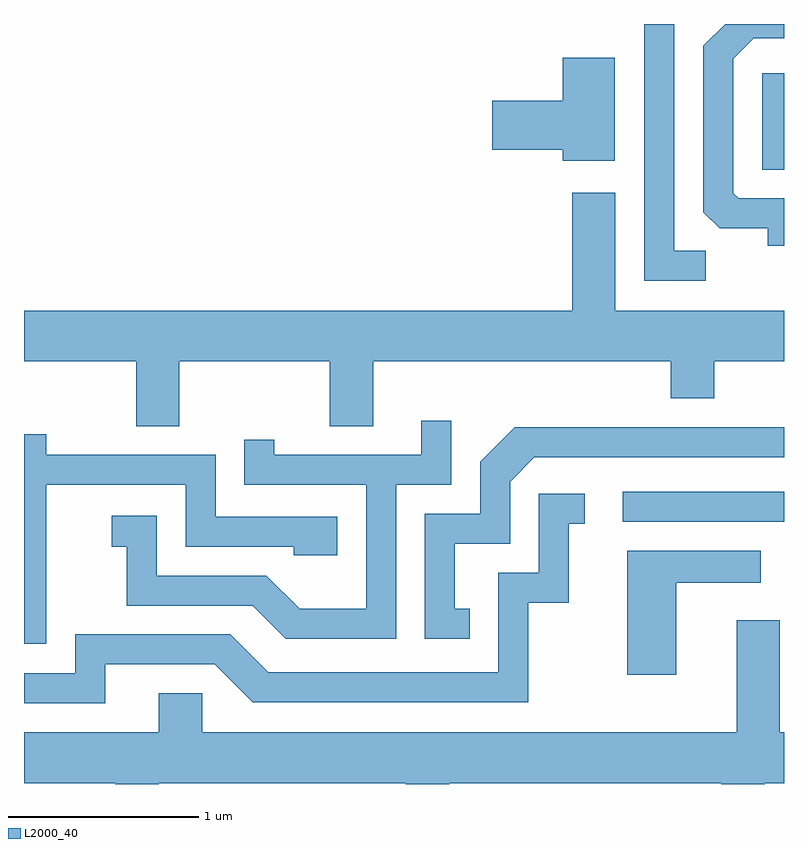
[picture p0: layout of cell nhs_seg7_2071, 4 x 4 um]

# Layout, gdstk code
import gdstk
lib = gdstk.Library(unit=1e-6, precision=1e-09)
def R(c, l, rs):  # rectangles x0, y0, x1, y1
    for r in rs: c.add(gdstk.rectangle(r[:2], r[2:], *l))
def P(c, l, *ps):  # polygons
    for p in ps: c.add(gdstk.Polygon(p, *l))
L2000_40 = (2000, 40)

nhs_seg7_2071 = lib.new_cell('nhs_seg7_2071')
R(nhs_seg7_2071, L2000_40, [(250.763,1775.631,251.611,1775.789), (251.496,1777.486,251.611,1777.993)])
P(nhs_seg7_2071, L2000_40, [(251.611,1777.334),(251.372,1777.334),(251.344,1777.362),(251.344,1778.069),(251.452,1778.176),(251.611,1778.176),(251.611,1778.252),(251.301,1778.252),(251.186,1778.137),(251.186,1777.262),(251.272,1777.176),(251.526,1777.176),(251.526,1777.086),(251.611,1777.086)],
  [(251.198,1777.059),(251.034,1777.059),(251.034,1778.252),(250.876,1778.252),(250.876,1776.901),(251.198,1776.901)],
  [(250.719,1778.074),(250.446,1778.074),(250.446,1777.849),(250.076,1777.849),(250.076,1777.591),(250.446,1777.591),(250.446,1777.531),(250.719,1777.531)],
  [(248.429,1776.476),(249.221,1776.476),(249.221,1776.136),(249.449,1776.136),(249.449,1776.476),(251.016,1776.476),(251.016,1776.281),(251.244,1776.281),(251.244,1776.476),(251.611,1776.476),(251.611,1776.744),(250.724,1776.744),(250.724,1777.364),(250.496,1777.364),(250.496,1776.744),(247.611,1776.744),(247.611,1776.476),(248.201,1776.476),(248.201,1776.136),(248.429,1776.136)],
  [(249.569,1775.826),(249.859,1775.826),(249.859,1776.163),(249.701,1776.163),(249.701,1775.984),(248.929,1775.984),(248.929,1776.063),(248.771,1776.063),(248.771,1775.826),(249.411,1775.826),(249.411,1775.174),(249.062,1775.174),(248.887,1775.349),(248.309,1775.349),(248.309,1775.664),(248.073,1775.664),(248.073,1775.501),(248.151,1775.501),(248.151,1775.191),(248.814,1775.191),(248.989,1775.016),(249.569,1775.016)],
  [(249.958,1775.174),(249.879,1775.174),(249.879,1775.516),(250.169,1775.516),(250.169,1775.844),(250.297,1775.971),(251.611,1775.971),(251.611,1776.129),(250.194,1776.129),(250.011,1775.947),(250.011,1775.674),(249.721,1775.674),(249.721,1775.016),(249.958,1775.016)],
  [(247.729,1775.826),(248.461,1775.826),(248.461,1775.501),(249.031,1775.501),(249.031,1775.456),(249.259,1775.456),(249.259,1775.659),(248.619,1775.659),(248.619,1775.984),(247.729,1775.984),(247.729,1776.094),(247.611,1776.094),(247.611,1774.991),(247.729,1774.991)],
  [(248.039,1774.881),(248.614,1774.881),(248.814,1774.681),(250.264,1774.681),(250.264,1775.206),(250.479,1775.206),(250.479,1775.621),(250.563,1775.621),(250.563,1775.779),(250.321,1775.779),(250.321,1775.364),(250.106,1775.364),(250.106,1774.839),(248.897,1774.839),(248.697,1775.039),(247.881,1775.039),(247.881,1774.834),(247.611,1774.834),(247.611,1774.676),(248.039,1774.676)],
  [(251.044,1775.311),(251.488,1775.311),(251.488,1775.479),(250.786,1775.479),(250.786,1774.826),(251.044,1774.826)],
  [(248.319,1774.256),(249.621,1774.256),(249.621,1774.252),(249.849,1774.252),(249.849,1774.256),(251.281,1774.256),(251.281,1774.252),(251.509,1774.252),(251.509,1774.256),(251.611,1774.256),(251.611,1774.524),(251.589,1774.524),(251.589,1775.114),(251.361,1775.114),(251.361,1774.524),(248.549,1774.524),(248.549,1774.729),(248.321,1774.729),(248.321,1774.524),(247.611,1774.524),(247.611,1774.256),(248.091,1774.256),(248.091,1774.252),(248.319,1774.252)])

lib.write_gds('nhs_seg7_2071.gds')
